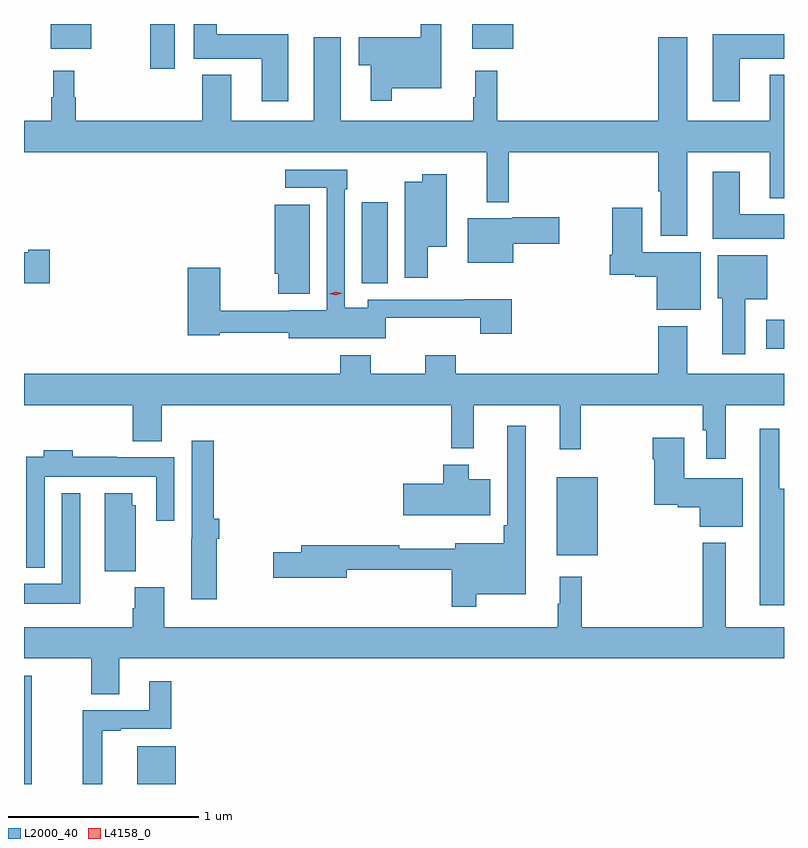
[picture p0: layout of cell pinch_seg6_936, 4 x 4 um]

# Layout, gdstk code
import gdstk
lib = gdstk.Library(unit=1e-6, precision=1e-09)
def R(c, l, rs):  # rectangles x0, y0, x1, y1
    for r in rs: c.add(gdstk.rectangle(r[:2], r[2:], *l))
def P(c, l, *ps):  # polygons
    for p in ps: c.add(gdstk.Polygon(p, *l))
L2000_40 = (2000, 40)
L4158_0 = (4158, 0)

pinch_seg6_936 = lib.new_cell('pinch_seg6_936')
R(pinch_seg6_936, L2000_40, [(263.037,942.678,263.078,943.248), (263.633,942.678,263.836,942.877), (265.841,943.883,266.056,944.293), (266.943,944.969,267.037,945.121), (264.815,945.313,264.952,945.739), (263.701,946.443,263.83,946.678), (263.177,946.547,263.392,946.678), (265.397,946.547,265.612,946.678)])
P(pinch_seg6_936, L2000_40, [(264.427,946.624),(264.052,946.624),(264.052,946.678),(263.93,946.678),(263.93,946.496),(264.287,946.496),(264.287,946.272),(264.427,946.272)],
  [(264.973,946.34),(265.234,946.34),(265.234,946.678),(265.125,946.678),(265.125,946.609),(264.8,946.609),(264.8,946.462),(264.863,946.462),(264.863,946.275),(264.973,946.275)],
  [(266.803,946.496),(267.037,946.496),(267.037,946.624),(266.663,946.624),(266.663,946.272),(266.803,946.272)],
  [(266.527,946.004),(266.963,946.004),(266.963,945.761),(267.037,945.761),(267.037,946.411),(266.963,946.411),(266.963,946.168),(266.527,946.168),(266.527,946.609),(266.375,946.609),(266.375,946.168),(265.529,946.168),(265.529,946.432),(265.412,946.432),(265.412,946.292),(265.401,946.292),(265.401,946.168),(264.703,946.168),(264.703,946.609),(264.563,946.609),(264.563,946.168),(264.127,946.168),(264.127,946.411),(263.975,946.411),(263.975,946.168),(263.309,946.168),(263.309,946.292),(263.302,946.292),(263.302,946.432),(263.192,946.432),(263.192,946.292),(263.181,946.292),(263.181,946.168),(263.037,946.168),(263.037,946.004),(265.472,946.004),(265.472,945.741),(265.588,945.741),(265.588,946.004),(266.375,946.004),(266.375,945.799),(266.387,945.799),(266.387,945.563),(266.527,945.563)],
  [(264.942,945.131),(265.439,945.131),(265.439,945.048),(265.604,945.048),(265.604,945.23),(265.355,945.23),(265.355,945.228),(264.846,945.228),(264.846,945.184),(264.726,945.184),(264.726,945.809),(264.739,945.809),(264.739,945.912),(264.411,945.912),(264.411,945.816),(264.63,945.816),(264.63,945.172),(264.435,945.172),(264.435,945.17),(264.07,945.17),(264.07,945.394),(263.9,945.394),(263.9,945.041),(264.066,945.041),(264.066,945.053),(264.431,945.053),(264.431,945.023),(264.942,945.023)],
  [(267.037,945.676),(266.803,945.676),(266.803,945.901),(266.663,945.901),(266.663,945.548),(267.037,945.548)],
  [(265.162,945.506),(265.261,945.506),(265.261,945.886),(265.132,945.886),(265.132,945.847),(265.04,945.847),(265.04,945.342),(265.162,945.342)],
  [(264.541,945.727),(264.356,945.727),(264.356,945.363),(264.374,945.363),(264.374,945.257),(264.541,945.257)],
  [(266.599,945.478),(266.29,945.478),(266.29,945.712),(266.132,945.712),(266.132,945.463),(266.12,945.463),(266.12,945.359),(266.253,945.359),(266.253,945.347),(266.366,945.347),(266.366,945.173),(266.599,945.173)],
  [(265.612,945.521),(265.855,945.521),(265.855,945.662),(265.608,945.662),(265.608,945.655),(265.373,945.655),(265.373,945.422),(265.612,945.422)],
  [(263.173,945.491),(263.06,945.491),(263.06,945.478),(263.037,945.478),(263.037,945.313),(263.173,945.313)],
  [(266.833,945.23),(266.95,945.23),(266.95,945.46),(266.687,945.46),(266.687,945.234),(266.711,945.234),(266.711,944.94),(266.833,944.94)],
  [(266.731,944.672),(267.037,944.672),(267.037,944.836),(266.527,944.836),(266.527,945.088),(266.375,945.088),(266.375,944.836),(265.31,944.836),(265.31,944.935),(265.15,944.935),(265.15,944.836),(264.861,944.836),(264.861,944.935),(264.701,944.935),(264.701,944.836),(263.037,944.836),(263.037,944.672),(263.609,944.672),(263.609,944.483),(263.761,944.483),(263.761,944.672),(265.285,944.672),(265.285,944.444),(265.403,944.444),(265.403,944.672),(265.856,944.672),(265.856,944.439),(265.966,944.439),(265.966,944.672),(266.61,944.672),(266.61,944.54),(266.627,944.54),(266.627,944.391),(266.731,944.391)],
  [(265.417,943.676),(265.678,943.676),(265.678,944.563),(265.581,944.563),(265.581,944.041),(265.561,944.041),(265.561,943.945),(265.307,943.945),(265.307,943.915),(265.011,943.915),(265.011,943.934),(264.497,943.934),(264.497,943.898),(264.348,943.898),(264.348,943.763),(264.736,943.763),(264.736,943.806),(265.288,943.806),(265.288,943.611),(265.417,943.611)],
  [(267.037,944.233),(267.013,944.233),(267.013,944.548),(266.909,944.548),(266.909,943.619),(267.037,943.619)],
  [(266.821,944.287),(266.512,944.287),(266.512,944.5),(266.347,944.5),(266.347,944.387),(266.354,944.387),(266.354,944.147),(266.478,944.147),(266.478,944.135),(266.594,944.135),(266.594,944.033),(266.821,944.033)],
  [(264.052,943.97),(264.065,943.97),(264.065,944.074),(264.035,944.074),(264.035,944.485),(263.919,944.485),(263.919,943.97),(263.918,943.97),(263.918,943.65),(264.052,943.65)],
  [(263.145,944.294),(263.733,944.294),(263.733,944.064),(263.829,944.064),(263.829,944.398),(263.525,944.398),(263.525,944.401),(263.294,944.401),(263.294,944.434),(263.141,944.434),(263.141,944.401),(263.049,944.401),(263.049,943.817),(263.145,943.817)],
  [(265.492,944.281),(265.378,944.281),(265.378,944.359),(265.244,944.359),(265.244,944.259),(265.032,944.259),(265.032,944.093),(265.492,944.093)],
  [(263.332,944.209),(263.235,944.209),(263.235,943.732),(263.037,943.732),(263.037,943.628),(263.332,943.628)],
  [(263.626,944.145),(263.608,944.145),(263.608,944.209),(263.462,944.209),(263.462,943.798),(263.626,943.798)],
  [(267.037,943.504),(266.731,943.504),(266.731,943.948),(266.61,943.948),(266.61,943.504),(265.973,943.504),(265.973,943.768),(265.856,943.768),(265.856,943.628),(265.845,943.628),(265.845,943.504),(263.774,943.504),(263.774,943.713),(263.621,943.713),(263.621,943.604),(263.609,943.604),(263.609,943.504),(263.037,943.504),(263.037,943.34),(263.392,943.34),(263.392,943.15),(263.539,943.15),(263.539,943.34),(267.037,943.34)],
  [(263.45,942.957),(263.545,942.957),(263.545,942.969),(263.813,942.969),(263.813,943.219),(263.696,943.219),(263.696,943.065),(263.347,943.065),(263.347,942.678),(263.45,942.678)])
P(pinch_seg6_936, L4158_0, [(264.679,945.25),(264.644,945.259),(264.644,945.259),(264.644,945.259),(264.678,945.27),(264.713,945.261),(264.713,945.261),(264.713,945.261)])

lib.write_gds('pinch_seg6_936.gds')
